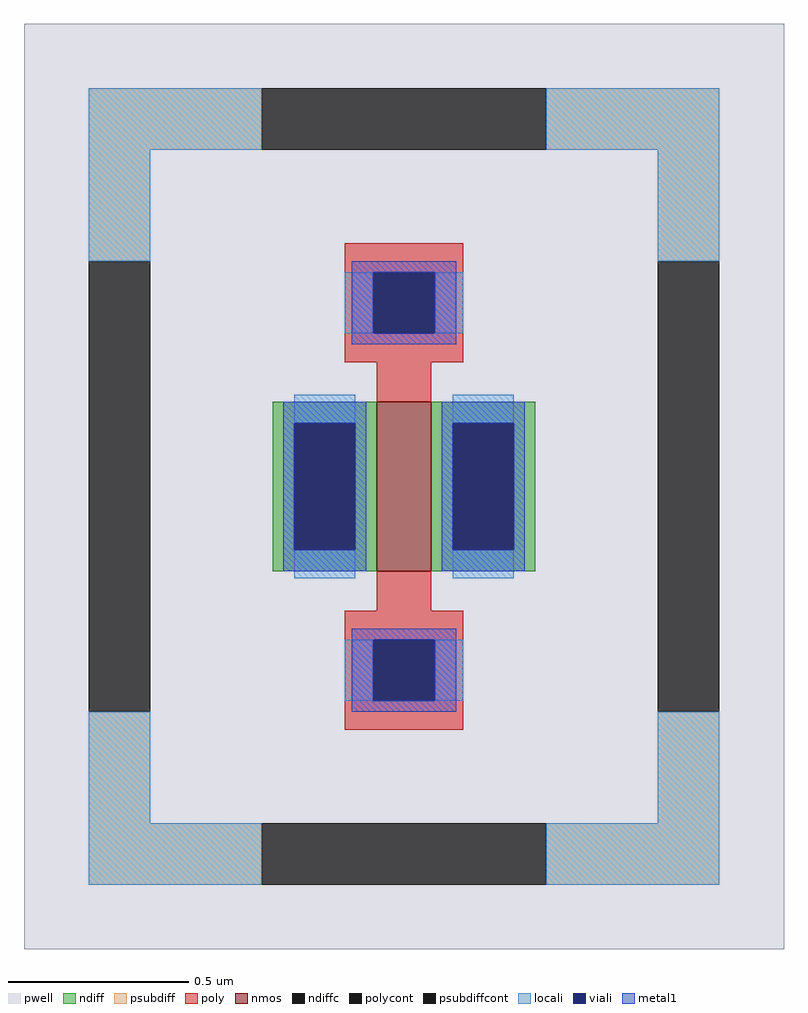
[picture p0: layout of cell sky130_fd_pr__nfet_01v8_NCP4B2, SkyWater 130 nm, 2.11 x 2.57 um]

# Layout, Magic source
magic
tech sky130A
magscale 1 2
<< pwell >>
rect -211 -257 211 257
<< nmos >>
rect -15 -47 15 47
<< ndiff >>
rect -73 35 -15 47
rect -73 -35 -61 35
rect -27 -35 -15 35
rect -73 -47 -15 -35
rect 15 35 73 47
rect 15 -35 27 35
rect 61 -35 73 35
rect 15 -47 73 -35
<< ndiffc >>
rect -61 -35 -27 35
rect 27 -35 61 35
<< psubdiff >>
rect -175 187 -79 221
rect 79 187 175 221
rect -175 125 -141 187
rect 141 125 175 187
rect -175 -187 -141 -125
rect 141 -187 175 -125
rect -175 -221 -79 -187
rect 79 -221 175 -187
<< psubdiffcont >>
rect -79 187 79 221
rect -175 -125 -141 125
rect 141 -125 175 125
rect -79 -221 79 -187
<< poly >>
rect -33 119 33 135
rect -33 85 -17 119
rect 17 85 33 119
rect -33 69 33 85
rect -15 47 15 69
rect -15 -69 15 -47
rect -33 -85 33 -69
rect -33 -119 -17 -85
rect 17 -119 33 -85
rect -33 -135 33 -119
<< polycont >>
rect -17 85 17 119
rect -17 -119 17 -85
<< locali >>
rect -175 187 -79 221
rect 79 187 175 221
rect -175 125 -141 187
rect 141 125 175 187
rect -33 85 -17 119
rect 17 85 33 119
rect -61 35 -27 51
rect -61 -51 -27 -35
rect 27 35 61 51
rect 27 -51 61 -35
rect -33 -119 -17 -85
rect 17 -119 33 -85
rect -175 -187 -141 -125
rect 141 -187 175 -125
rect -175 -221 -79 -187
rect 79 -221 175 -187
<< viali >>
rect -17 85 17 119
rect -61 -35 -27 35
rect 27 -35 61 35
rect -17 -119 17 -85
<< metal1 >>
rect -29 119 29 125
rect -29 85 -17 119
rect 17 85 29 119
rect -29 79 29 85
rect -67 35 -21 47
rect -67 -35 -61 35
rect -27 -35 -21 35
rect -67 -47 -21 -35
rect 21 35 67 47
rect 21 -35 27 35
rect 61 -35 67 35
rect 21 -47 67 -35
rect -29 -85 29 -79
rect -29 -119 -17 -85
rect 17 -119 29 -85
rect -29 -125 29 -119
<< properties >>
string FIXED_BBOX -158 -204 158 204
string gencell sky130_fd_pr__nfet_01v8
string library sky130
string parameters w 0.468 l 0.15 m 1 nf 1 diffcov 100 polycov 100 guard 1 glc 1 grc 1 gtc 1 gbc 1 tbcov 100 rlcov 100 topc 1 botc 1 poverlap 0 doverlap 1 lmin 0.15 wmin 0.42 compatible {sky130_fd_pr__nfet_01v8 sky130_fd_pr__nfet_01v8_lvt  sky130_fd_bs_flash__special_sonosfet_star  sky130_fd_pr__nfet_g5v0d10v5 sky130_fd_pr__nfet_05v0_nvt  sky130_fd_pr__nfet_03v3_nvt} full_metal 1 viasrc 100 viadrn 100 viagate 100 viagb 0 viagr 0 viagl 0 viagt 0
<< end >>
